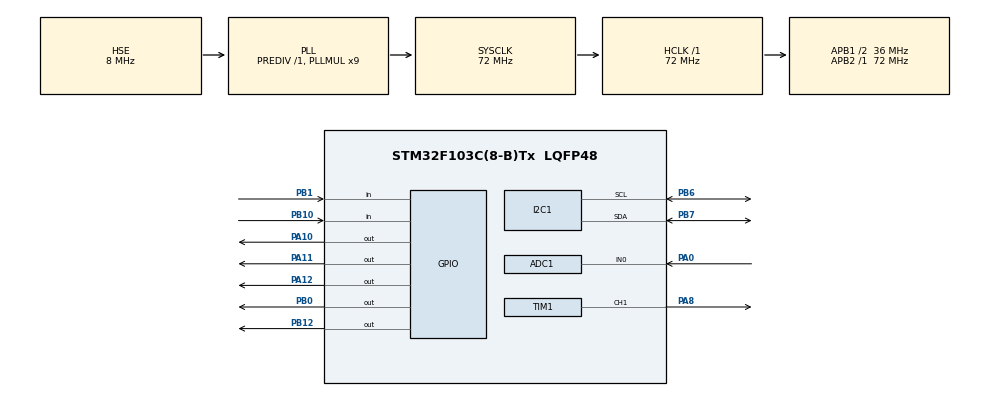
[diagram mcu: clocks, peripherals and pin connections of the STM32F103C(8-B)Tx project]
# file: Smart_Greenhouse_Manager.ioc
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ADC1.Channel-1\#ChannelRegularConversion=ADC_CHANNEL_0
ADC1.NbrOfConversionFlag=1
ADC1.Rank-1\#ChannelRegularConversion=1
ADC1.SamplingTime-1\#ChannelRegularConversion=ADC_SAMPLETIME_71CYCLES_5
ADC1.master=1
Mcu.Family=STM32F1
Mcu.Name=STM32F103C(8-B)Tx
Mcu.Package=LQFP48
NVIC.PriorityGroup=NVIC_PRIORITYGROUP_4
PA0-WKUP.Signal=ADCx_IN0
PA10.Signal=GPIO_Output
PA11.Signal=GPIO_Output
PA12.Signal=GPIO_Output
PA13.Mode=Serial_Wire
PA13.Signal=SYS_JTMS-SWDIO
PA14.Mode=Serial_Wire
PA14.Signal=SYS_JTCK-SWCLK
PA8.Signal=S_TIM1_CH1
PB0.Signal=GPIO_Output
PB1.Signal=GPIO_Input
PB10.Signal=GPIO_Input
PB12.Signal=GPIO_Output
PB6.Mode=I2C
PB6.Signal=I2C1_SCL
PB7.Mode=I2C
PB7.Signal=I2C1_SDA
PD0-OSC_IN.Mode=HSE-External-Oscillator
PD0-OSC_IN.Signal=RCC_OSC_IN
PD1-OSC_OUT.Mode=HSE-External-Oscillator
PD1-OSC_OUT.Signal=RCC_OSC_OUT
ProjectManager.HeapSize=0x200
ProjectManager.StackSize=0x400
ProjectManager.TargetToolchain=MDK-ARM V5.32
RCC.ADCPresc=RCC_ADCPCLK2_DIV6
RCC.AHBFreq_Value=72000000
RCC.APB1CLKDivider=RCC_HCLK_DIV2
RCC.APB1Freq_Value=36000000
RCC.APB1TimFreq_Value=72000000
RCC.APB2Freq_Value=72000000
RCC.APB2TimFreq_Value=72000000
RCC.HCLKFreq_Value=72000000
RCC.PLLMUL=RCC_PLL_MUL9
RCC.PLLSourceVirtual=RCC_PLLSOURCE_HSE
RCC.SYSCLKFreq_VALUE=72000000
RCC.SYSCLKSource=RCC_SYSCLKSOURCE_PLLCLK
RCC.USBFreq_Value=72000000
SH.ADCx_IN0.0=ADC1_IN0,IN0
SH.S_TIM1_CH1.0=TIM1_CH1,Output Compare1 CH1
TIM1.Channel-Output\ Compare1\ CH1=TIM_CHANNEL_1
TIM1.Period=20000 - 1
TIM1.Prescaler=72 - 1
VP_TIM1_VS_ClockSourceINT.Mode=Internal
board=custom

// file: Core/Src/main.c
/* USER CODE BEGIN Header */
/**
  ******************************************************************************
  * @file           : main.c
  * @brief          : Main program body
  ******************************************************************************
  * @attention
  *
  * Copyright (c) 2025 STMicroelectronics.
  * All rights reserved.
  *
  * This software is licensed under terms that can be found in the LICENSE file
  * in the root directory of this software component.
  * If no LICENSE file comes with this software, it is provided AS-IS.
  *
  ******************************************************************************
  */
/* USER CODE END Header */
#include "main.h"

/* USER CODE BEGIN Includes */
#include "liquidcrystal_i2c.h"
#include <stdio.h>
#include <string.h>
#include <math.h>
#include <stdbool.h>
/* USER CODE END Includes */

/* USER CODE BEGIN PTD */
/* none */
/* USER CODE END PTD */

/* USER CODE BEGIN PD */
/* --- Pin map (matches this file's init) --- */
#define I2C_LCD_ADDR   (0x27)     // set inside your LCD driver if needed

#define TRIG_GPIO      GPIOB
#define TRIG_PIN       GPIO_PIN_0
#define ECHO_GPIO      GPIOB
#define ECHO_PIN       GPIO_PIN_1  // MUST be level-shifted to 3.3V

#define DHT_GPIO       GPIOB
#define DHT_PIN        GPIO_PIN_10 // 4.7k pull-up to 3.3V

#define SOIL_ADC_CH    ADC_CHANNEL_0 // PA0
#define SOIL_PWR_GPIO  GPIOB
#define SOIL_PWR_PIN   GPIO_PIN_12   // optional probe power GPIO

#define LED_G_GPIO     GPIOA
#define LED_G_PIN      GPIO_PIN_10   // Green
#define LED_Y_GPIO     GPIOA
#define LED_Y_PIN      GPIO_PIN_11   // Yellow
#define LED_R_GPIO     GPIOA
#define LED_R_PIN      GPIO_PIN_12   // Red

#define SERVO_TIM      TIM1
#define SERVO_CH       TIM_CHANNEL_1 // PA8

/* --- Behavior & thresholds --- */
#define PAGE_SWAP_MS       10000U
#define LOOP_DELAY_MS       200U

/* Soil decision: raw ADC <= THR => Wet (YL-69 gives lower ADC when wet) */
static uint16_t SOIL_ADC_THR = 2500;

/* Tank % rule: if <=25% start servo until 100% */
#define TANK_MIN_PERCENT    25.0f
#define TANK_FULL_PERCENT   99.0f

/* Servo pulses (us) - tune for your horn */
#define SERVO_PULSE_CLOSED  1000
#define SERVO_PULSE_OPEN    2000
/* USER CODE END PD */

/* USER CODE BEGIN PM */
/* none */
/* USER CODE END PM */

I2C_HandleTypeDef hi2c1;
ADC_HandleTypeDef hadc1;
TIM_HandleTypeDef htim1;

/* USER CODE BEGIN PV */
/* none */
/* USER CODE END PV */

void SystemClock_Config(void);
static void MX_GPIO_Init(void);
static void MX_I2C1_Init(void);
static void MX_ADC1_Init(void);
static void MX_TIM1_Init(void);
/* USER CODE BEGIN PFP */
/* DWT timing */
static void     DWT_Delay_Init(void);
static uint32_t micros(void);
static void     delay_us(uint32_t us);

/* Sensors */
static float    HCSR04_ReadCM(void);
static bool     DHT11_Read(float *tC, float *rh);
static uint16_t Soil_ADC_SampleRaw(void);

/* Mapping & UI */
typedef enum { TANK_OK=0, TANK_WARN=1, TANK_CRIT_BLINK=2 } tank_band_t;
typedef struct { float pct; tank_band_t band; } tank_info_t;
static tank_info_t Tank_FromDistance(float d_cm);
static void     LEDs_Update(tank_band_t tb, bool soilDry, uint32_t ms);

/* Servo */
static void     Servo_WriteUS(uint16_t us);

/* LCD pages */
static void     LCD_PageIntro1(void);
static void     LCD_PageIntro2(void);
static void     LCD_Page3(float tC, float rh, float tankPct);
static void     LCD_Page4(bool soilDry, float tankPct);
/* USER CODE END PFP */

/* USER CODE BEGIN 0 */
/* ---- DWT microsecond timing ---- */
static void DWT_Delay_Init(void)
{
  /* Enable TRC */
  CoreDebug->DEMCR |= CoreDebug_DEMCR_TRCENA_Msk;
  /* Reset the cycle counter */
  DWT->CYCCNT = 0;
  /* Enable the cycle counter */
  DWT->CTRL |= DWT_CTRL_CYCCNTENA_Msk;
}

static uint32_t micros(void)
{
  /* SystemCoreClock is typically 72 MHz => ticks per us = 72 */
  return (uint32_t)(DWT->CYCCNT / (SystemCoreClock / 1000000U));
}

static void delay_us(uint32_t us)
{
  uint32_t t0 = micros();
  while ((micros() - t0) < us) {}
}

/* ---- Ultrasonic: returns cm, or negative on error ---- */
static float HCSR04_ReadCM(void)
{
  /* Ensure TRIG low for at least 2 us */
  HAL_GPIO_WritePin(TRIG_GPIO, TRIG_PIN, GPIO_PIN_RESET);
  delay_us(2);

  /* 10 us TRIG pulse */
  HAL_GPIO_WritePin(TRIG_GPIO, TRIG_PIN, GPIO_PIN_SET);
  delay_us(10);
  HAL_GPIO_WritePin(TRIG_GPIO, TRIG_PIN, GPIO_PIN_RESET);

  /* Wait for ECHO to go high (timeout ~30 ms) */
  uint32_t to = micros();
  while (HAL_GPIO_ReadPin(ECHO_GPIO, ECHO_PIN) == GPIO_PIN_RESET) {
    if ((micros() - to) > 30000U) return -1.0f; // no echo start
  }

  /* Measure high time */
  uint32_t start = micros();
  while (HAL_GPIO_ReadPin(ECHO_GPIO, ECHO_PIN) == GPIO_PIN_SET) {
    if ((micros() - start) > 30000U) return -2.0f; // echo too long/out of range
  }
  uint32_t pulse_us = micros() - start;

  /* HC-SR04: distance (cm) ˜ pulse_us / 58.0 */
  return (float)pulse_us / 58.0f;
}

/* ---- DHT11 read (blocking minimal) ----
   Returns true on success and fills *tC & *rh (integers as floats). */
static bool DHT11_Read(float *tC, float *rh)
{
  uint8_t d[5] = {0};

  /* Start signal: output low 18 ms, then high 20-40 us, switch to input */
  GPIO_InitTypeDef g = {0};
  g.Pin   = DHT_PIN;
  g.Mode  = GPIO_MODE_OUTPUT_PP;
  g.Speed = GPIO_SPEED_FREQ_LOW;
  HAL_GPIO_Init(DHT_GPIO, &g);

  HAL_GPIO_WritePin(DHT_GPIO, DHT_PIN, GPIO_PIN_RESET);
  HAL_Delay(18);
  HAL_GPIO_WritePin(DHT_GPIO, DHT_PIN, GPIO_PIN_SET);
  delay_us(30);

  g.Mode = GPIO_MODE_INPUT;
  g.Pull = GPIO_NOPULL;
  HAL_GPIO_Init(DHT_GPIO, &g);

  /* Response: ~80us low + ~80us high */
  uint32_t t = micros();
  while (HAL_GPIO_ReadPin(DHT_GPIO, DHT_PIN))         if (micros() - t > 120) return false;
  t = micros(); while (!HAL_GPIO_ReadPin(DHT_GPIO, DHT_PIN)) if (micros() - t > 120) return false;
  t = micros(); while ( HAL_GPIO_ReadPin(DHT_GPIO, DHT_PIN)) if (micros() - t > 120) return false;

  /* 40 bits */
  for (int i=0;i<40;i++) {
    t = micros();
    while (!HAL_GPIO_ReadPin(DHT_GPIO, DHT_PIN)) if (micros() - t > 120) return false; // wait 50us low
    /* measure high width */
    t = micros();
    while (HAL_GPIO_ReadPin(DHT_GPIO, DHT_PIN))  if (micros() - t > 120) break;
    uint32_t width = micros() - t;
    d[i/8] <<= 1;
    if (width > 40) d[i/8] |= 1; // ~26-28us => 0, ~70us => 1
  }

  if ((uint8_t)(d[0]+d[1]+d[2]+d[3]) != d[4]) return false;
  *rh = (float)d[0];
  *tC = (float)d[2];
  return true;
}

/* ---- Soil ADC sampling (avg 8) with optional probe power ---- */
static uint16_t Soil_ADC_SampleRaw(void)
{
  /* power probe only while sampling (optional; tie SOIL_PWR_PIN if used) */
  HAL_GPIO_WritePin(SOIL_PWR_GPIO, SOIL_PWR_PIN, GPIO_PIN_SET);
  HAL_Delay(2);
  uint32_t acc = 0;
  for (int i=0;i<8;i++) {
    HAL_ADC_Start(&hadc1);
    HAL_ADC_PollForConversion(&hadc1, 5);
    acc += HAL_ADC_GetValue(&hadc1);
    HAL_ADC_Stop(&hadc1);
    delay_us(300);
  }
  HAL_GPIO_WritePin(SOIL_PWR_GPIO, SOIL_PWR_PIN, GPIO_PIN_RESET);
  return (uint16_t)(acc/8U);
}

/* ---- Tank band per your spec (distance buckets) ----
   10–20 cm => 100–50% (Green steady)
   5–10  cm => 50–25%  (Red steady)
   1–5   cm => 25–0%   (Red/Green alternate blink)
   >20 cm cap at 50% (Green), <1 cm cap at 0% (blink)
*/
static tank_info_t Tank_FromDistance(float d_cm)
{
  tank_info_t ti = {0.0f, TANK_CRIT_BLINK};

  if (!isfinite(d_cm) || d_cm <= 0.0f) { ti.pct = 0.0f;  ti.band = TANK_CRIT_BLINK; return ti; }

  if (d_cm >= 10.0f && d_cm <= 20.0f) {
    ti.pct  = 100.0f - ((d_cm - 10.0f) * (50.0f / 10.0f)); // 10->100, 20->50
    ti.band = TANK_OK;                                     // Green
  } else if (d_cm >= 5.0f && d_cm < 10.0f) {
    ti.pct  =  50.0f - ((d_cm - 5.0f)  * (25.0f / 5.0f));  // 5->50, 10->25
    ti.band = TANK_WARN;                                   // Red
  } else if (d_cm >= 1.0f && d_cm < 5.0f) {
    ti.pct  =  25.0f - ((d_cm - 1.0f)  * (25.0f / 4.0f));  // 1->25, 5->0
    ti.band = TANK_CRIT_BLINK;                             // Red/Green blink
  } else if (d_cm > 20.0f) {
    ti.pct  = 50.0f; ti.band = TANK_OK;
  } else { // d_cm < 1.0
    ti.pct  = 0.0f; ti.band = TANK_CRIT_BLINK;
  }

  if (ti.pct < 0.0f) ti.pct = 0.0f;
  if (ti.pct > 100.0f) ti.pct = 100.0f;
  return ti;
}

/* ---- LED policy (tank band + soil dry priority) ---- */
static void LEDs_Update(tank_band_t tb, bool soilDry, uint32_t ms)
{
  GPIO_PinState g=GPIO_PIN_RESET, y=GPIO_PIN_RESET, r=GPIO_PIN_RESET;

  /* Highest priority: tank critical => blink G/R alternately every 500 ms */
  if (tb == TANK_CRIT_BLINK) {
    if ((ms/500U)%2U==0U) g = GPIO_PIN_SET; else r = GPIO_PIN_SET;
  } else if (soilDry) {
    y = GPIO_PIN_SET; // soil dry => Yellow steady
  } else {
    if (tb == TANK_OK)   g = GPIO_PIN_SET;
    if (tb == TANK_WARN) r = GPIO_PIN_SET;
  }

  HAL_GPIO_WritePin(LED_G_GPIO, LED_G_PIN, g);
  HAL_GPIO_WritePin(LED_Y_GPIO, LED_Y_PIN, y);
  HAL_GPIO_WritePin(LED_R_GPIO, LED_R_PIN, r);
}

/* ---- Servo helpers ---- */
static void Servo_WriteUS(uint16_t us)
{
  __HAL_TIM_SET_COMPARE(&htim1, SERVO_CH, us);
}

/* ---- LCD helpers ---- */
static void LCD_PageIntro1(void)
{
  HD44780_Clear();
  HD44780_SetCursor(0,0); HD44780_PrintStr("CSE331");
  HD44780_SetCursor(0,1); HD44780_PrintStr("Group: 3");
}
static void LCD_PageIntro2(void)
{
  HD44780_Clear();
  HD44780_SetCursor(0,0); HD44780_PrintStr("Smart Green-");
  HD44780_SetCursor(0,1); HD44780_PrintStr("house Manager");
}
static void LCD_Page3(float tC, float rh, float tankPct)
{
  char line[17];
  HD44780_Clear();

  /* Row 1: Temp/RH */
  HD44780_SetCursor(0,0);
  snprintf(line, sizeof line, "Temp/RH %2.0f/%2.0f", tC, rh);
  line[16] = '\0';   // ensure safe termination
  HD44780_PrintStr(line);

  /* Row 2: Tank % */
  HD44780_SetCursor(0,1);
  snprintf(line, sizeof line, "Tank:%3.0f%%      ", tankPct); // pad with spaces
  line[16] = '\0';
  HD44780_PrintStr(line);
}

static void LCD_Page4(bool soilDry, float tankPct)
{
  char line[17];
  HD44780_Clear();

  /* Row 1: Soil state (exactly 16 chars) */
HD44780_SetCursor(0,0);
snprintf(line, sizeof line, "Soil:%-3s", soilDry ? "Dry" : "Wet");  // e.g., "Soil:Dry"
size_t n = strlen(line);
while (n < 16) line[n++] = ' ';   // pad with spaces
line[16] = '\0';
HD44780_PrintStr(line);

  /* Row 2: Tank % */
  HD44780_SetCursor(0,1);
  snprintf(line, sizeof line, "Tank:%3.0f%%      ", tankPct);
  line[16] = '\0';
  HD44780_PrintStr(line);
}

/* USER CODE END 0 */

int main(void)
{

  /* MCU Configuration--------------------------------------------------------*/

  /* Reset of all peripherals, Initializes the Flash interface and the Systick. */
  HAL_Init();

  /* Configure the system clock */
  SystemClock_Config();

  /* USER CODE BEGIN SysInit */
  /* Keep SWD, free JTAG if you want PB3/PB4/PB5 */
  __HAL_AFIO_REMAP_SWJ_NOJTAG();
  DWT_Delay_Init();
  /* USER CODE END SysInit */

  /* Initialize all configured peripherals */
  MX_GPIO_Init();
  MX_I2C1_Init();
  MX_ADC1_Init();
  MX_TIM1_Init();
  /* USER CODE BEGIN 2 */
  HAL_TIM_PWM_Start(&htim1, SERVO_CH);
  Servo_WriteUS(SERVO_PULSE_CLOSED); // start closed

  /* LCD init (2 rows) */
  HD44780_Init(2);
  HD44780_Backlight();

  LCD_PageIntro1(); HAL_Delay(1000);
  LCD_PageIntro2(); HAL_Delay(1000);
  /* USER CODE END 2 */

  /* Infinite loop */
  /* USER CODE BEGIN WHILE */
  bool     showPage3   = true;
  uint32_t lastSwap    = HAL_GetTick();
  char     line[17];
  float    tC=0, rh=0;

  while (1)
  {
    /* --- Read sensors --- */
    (void)DHT11_Read(&tC, &rh);                 // if it fails, values remain last good
    uint16_t soilRaw = Soil_ADC_SampleRaw();
    bool soilDry = (soilRaw > SOIL_ADC_THR);

    float d_cm = HCSR04_ReadCM();
    tank_info_t tank = Tank_FromDistance(d_cm);

    /* --- Servo logic --- */
    bool tankLow     = (tank.pct <= TANK_MIN_PERCENT);
    bool tankIsFull  = (tank.pct >= TANK_FULL_PERCENT);
    bool needServo   = soilDry || tankLow;
    if (needServo && !tankIsFull) Servo_WriteUS(SERVO_PULSE_OPEN);
    else                          Servo_WriteUS(SERVO_PULSE_CLOSED);

    /* --- LEDs --- */
    LEDs_Update(tank.band, soilDry, HAL_GetTick());

    /* --- LCD pages: 10 s swap --- */
    if (HAL_GetTick() - lastSwap >= PAGE_SWAP_MS) {
      showPage3 = !showPage3;
      lastSwap  = HAL_GetTick();
    }
    if (showPage3)  LCD_Page3(tC, rh, tank.pct);
    else            LCD_Page4(soilDry, tank.pct);

    HAL_Delay(LOOP_DELAY_MS);
    /* USER CODE END WHILE */

  }
}

void SystemClock_Config(void)
{
  RCC_OscInitTypeDef RCC_OscInitStruct = {0};
  RCC_ClkInitTypeDef RCC_ClkInitStruct = {0};

  RCC_OscInitStruct.OscillatorType      = RCC_OSCILLATORTYPE_HSE;
  RCC_OscInitStruct.HSEState            = RCC_HSE_ON;
  RCC_OscInitStruct.HSEPredivValue      = RCC_HSE_PREDIV_DIV1;
  RCC_OscInitStruct.HSIState            = RCC_HSI_ON;
  RCC_OscInitStruct.PLL.PLLState        = RCC_PLL_ON;
  RCC_OscInitStruct.PLL.PLLSource       = RCC_PLLSOURCE_HSE;
  RCC_OscInitStruct.PLL.PLLMUL          = RCC_PLL_MUL9;
  if (HAL_RCC_OscConfig(&RCC_OscInitStruct) != HAL_OK) { Error_Handler(); }

  RCC_ClkInitStruct.ClockType           = RCC_CLOCKTYPE_HCLK|RCC_CLOCKTYPE_SYSCLK
                                        | RCC_CLOCKTYPE_PCLK1|RCC_CLOCKTYPE_PCLK2;
  RCC_ClkInitStruct.SYSCLKSource        = RCC_SYSCLKSOURCE_PLLCLK;
  RCC_ClkInitStruct.AHBCLKDivider       = RCC_SYSCLK_DIV1;
  RCC_ClkInitStruct.APB1CLKDivider      = RCC_HCLK_DIV2;
  RCC_ClkInitStruct.APB2CLKDivider      = RCC_HCLK_DIV1;
  if (HAL_RCC_ClockConfig(&RCC_ClkInitStruct, FLASH_LATENCY_2) != HAL_OK) { Error_Handler(); }
}

static void MX_I2C1_Init(void)
{
  hi2c1.Instance             = I2C1;
  hi2c1.Init.ClockSpeed      = 100000;
  hi2c1.Init.DutyCycle       = I2C_DUTYCYCLE_2;
  hi2c1.Init.OwnAddress1     = 0;
  hi2c1.Init.AddressingMode  = I2C_ADDRESSINGMODE_7BIT;
  hi2c1.Init.DualAddressMode = I2C_DUALADDRESS_DISABLE;
  hi2c1.Init.OwnAddress2     = 0;
  hi2c1.Init.GeneralCallMode = I2C_GENERALCALL_DISABLE;
  hi2c1.Init.NoStretchMode   = I2C_NOSTRETCH_DISABLE;
  if (HAL_I2C_Init(&hi2c1) != HAL_OK) { Error_Handler(); }

  /* GPIO config for I2C (open-drain, pull-up external to 3.3V) */
  __HAL_RCC_GPIOB_CLK_ENABLE();
  GPIO_InitTypeDef GPIO_InitStruct = {0};
  GPIO_InitStruct.Pin   = GPIO_PIN_6|GPIO_PIN_7;
  GPIO_InitStruct.Mode  = GPIO_MODE_AF_OD;
  GPIO_InitStruct.Pull  = GPIO_NOPULL;
  GPIO_InitStruct.Speed = GPIO_SPEED_FREQ_HIGH;
  HAL_GPIO_Init(GPIOB, &GPIO_InitStruct);
}

static void MX_ADC1_Init(void)
{
  __HAL_RCC_ADC1_CLK_ENABLE();

  ADC_ChannelConfTypeDef sConfig = {0};
  hadc1.Instance                   = ADC1;
  hadc1.Init.ScanConvMode          = ADC_SCAN_DISABLE;
  hadc1.Init.ContinuousConvMode    = DISABLE;
  hadc1.Init.DiscontinuousConvMode = DISABLE;
  hadc1.Init.ExternalTrigConv      = ADC_SOFTWARE_START;
  hadc1.Init.DataAlign             = ADC_DATAALIGN_RIGHT;
  hadc1.Init.NbrOfConversion       = 1;
  if (HAL_ADC_Init(&hadc1) != HAL_OK) { Error_Handler(); }

  sConfig.Channel      = SOIL_ADC_CH;
  sConfig.Rank         = ADC_REGULAR_RANK_1;
  sConfig.SamplingTime = ADC_SAMPLETIME_71CYCLES_5;
  if (HAL_ADC_ConfigChannel(&hadc1, &sConfig) != HAL_OK) { Error_Handler(); }
}

static void MX_TIM1_Init(void)
{
  __HAL_RCC_TIM1_CLK_ENABLE();

  TIM_OC_InitTypeDef sConfigOC = {0};
  htim1.Instance               = TIM1;
  htim1.Init.Prescaler         = (uint16_t)((SystemCoreClock/1000000U)-1U); // 1 MHz
  htim1.Init.CounterMode       = TIM_COUNTERMODE_UP;
  htim1.Init.Period            = 20000-1;  // 20,000 us -> 50 Hz
  htim1.Init.ClockDivision     = TIM_CLOCKDIVISION_DIV1;
  htim1.Init.RepetitionCounter = 0;
  if (HAL_TIM_PWM_Init(&htim1) != HAL_OK) { Error_Handler(); }

  sConfigOC.OCMode       = TIM_OCMODE_PWM1;
  sConfigOC.Pulse        = SERVO_PULSE_CLOSED; // default
  sConfigOC.OCPolarity   = TIM_OCPOLARITY_HIGH;
  sConfigOC.OCNPolarity  = TIM_OCNPOLARITY_HIGH;
  sConfigOC.OCFastMode   = TIM_OCFAST_DISABLE;
  sConfigOC.OCIdleState  = TIM_OCIDLESTATE_RESET;
  sConfigOC.OCNIdleState = TIM_OCNIDLESTATE_RESET;
  if (HAL_TIM_PWM_ConfigChannel(&htim1, &sConfigOC, SERVO_CH) != HAL_OK) { Error_Handler(); }

  /* GPIO PA8 AF PushPull */
  __HAL_RCC_GPIOA_CLK_ENABLE();
  GPIO_InitTypeDef GPIO_InitStruct = {0};
  GPIO_InitStruct.Pin   = GPIO_PIN_8;
  GPIO_InitStruct.Mode  = GPIO_MODE_AF_PP;
  GPIO_InitStruct.Speed = GPIO_SPEED_FREQ_HIGH;
  HAL_GPIO_Init(GPIOA, &GPIO_InitStruct);

  HAL_TIM_MspPostInit(&htim1);
}

static void MX_GPIO_Init(void)
{
  __HAL_RCC_GPIOA_CLK_ENABLE();
  __HAL_RCC_GPIOB_CLK_ENABLE();
  __HAL_RCC_AFIO_CLK_ENABLE();

  /* LEDs: PA10/11/12 output push-pull low */
  GPIO_InitTypeDef GPIO_InitStruct = {0};
  HAL_GPIO_WritePin(LED_G_GPIO, LED_G_PIN, GPIO_PIN_RESET);
  HAL_GPIO_WritePin(LED_Y_GPIO, LED_Y_PIN, GPIO_PIN_RESET);
  HAL_GPIO_WritePin(LED_R_GPIO, LED_R_PIN, GPIO_PIN_RESET);
  GPIO_InitStruct.Pin   = LED_G_PIN|LED_Y_PIN|LED_R_PIN;
  GPIO_InitStruct.Mode  = GPIO_MODE_OUTPUT_PP;
  GPIO_InitStruct.Pull  = GPIO_NOPULL;
  GPIO_InitStruct.Speed = GPIO_SPEED_FREQ_LOW;
  HAL_GPIO_Init(GPIOA, &GPIO_InitStruct);

  /* TRIG PB0 output low */
  HAL_GPIO_WritePin(TRIG_GPIO, TRIG_PIN, GPIO_PIN_RESET);
  GPIO_InitStruct.Pin   = TRIG_PIN;
  GPIO_InitStruct.Mode  = GPIO_MODE_OUTPUT_PP;
  GPIO_InitStruct.Pull  = GPIO_NOPULL;
  GPIO_InitStruct.Speed = GPIO_SPEED_FREQ_LOW;
  HAL_GPIO_Init(TRIG_GPIO, &GPIO_InitStruct);

  /* ECHO PB1 input (external divider to 3.3V!) */
  GPIO_InitStruct.Pin   = ECHO_PIN;
  GPIO_InitStruct.Mode  = GPIO_MODE_INPUT;
  GPIO_InitStruct.Pull  = GPIO_NOPULL;
  HAL_GPIO_Init(ECHO_GPIO, &GPIO_InitStruct);

  /* Soil probe power PB12 (optional) default LOW */
  HAL_GPIO_WritePin(SOIL_PWR_GPIO, SOIL_PWR_PIN, GPIO_PIN_RESET);
  GPIO_InitStruct.Pin   = SOIL_PWR_PIN;
  GPIO_InitStruct.Mode  = GPIO_MODE_OUTPUT_PP;
  GPIO_InitStruct.Pull  = GPIO_NOPULL;
  GPIO_InitStruct.Speed = GPIO_SPEED_FREQ_LOW;
  HAL_GPIO_Init(SOIL_PWR_GPIO, &GPIO_InitStruct);

  /* DHT11 pin initially input; driver will switch modes */
  GPIO_InitStruct.Pin   = DHT_PIN;
  GPIO_InitStruct.Mode  = GPIO_MODE_INPUT;
  GPIO_InitStruct.Pull  = GPIO_NOPULL;
  HAL_GPIO_Init(DHT_GPIO, &GPIO_InitStruct);

  /* Free JTAG, keep SWD (optional) */
  __HAL_AFIO_REMAP_SWJ_NOJTAG();

  /* ADC pin PA0 is analog by default after reset; if needed: */
  GPIO_InitStruct.Pin  = GPIO_PIN_0;
  GPIO_InitStruct.Mode = GPIO_MODE_ANALOG;
  HAL_GPIO_Init(GPIOA, &GPIO_InitStruct);
}

void Error_Handler(void)
{
  __disable_irq();
  while (1)
  {
    /* Blink RED fast to indicate error */
    HAL_GPIO_TogglePin(LED_R_GPIO, LED_R_PIN);
    HAL_Delay(100);
  }
}
